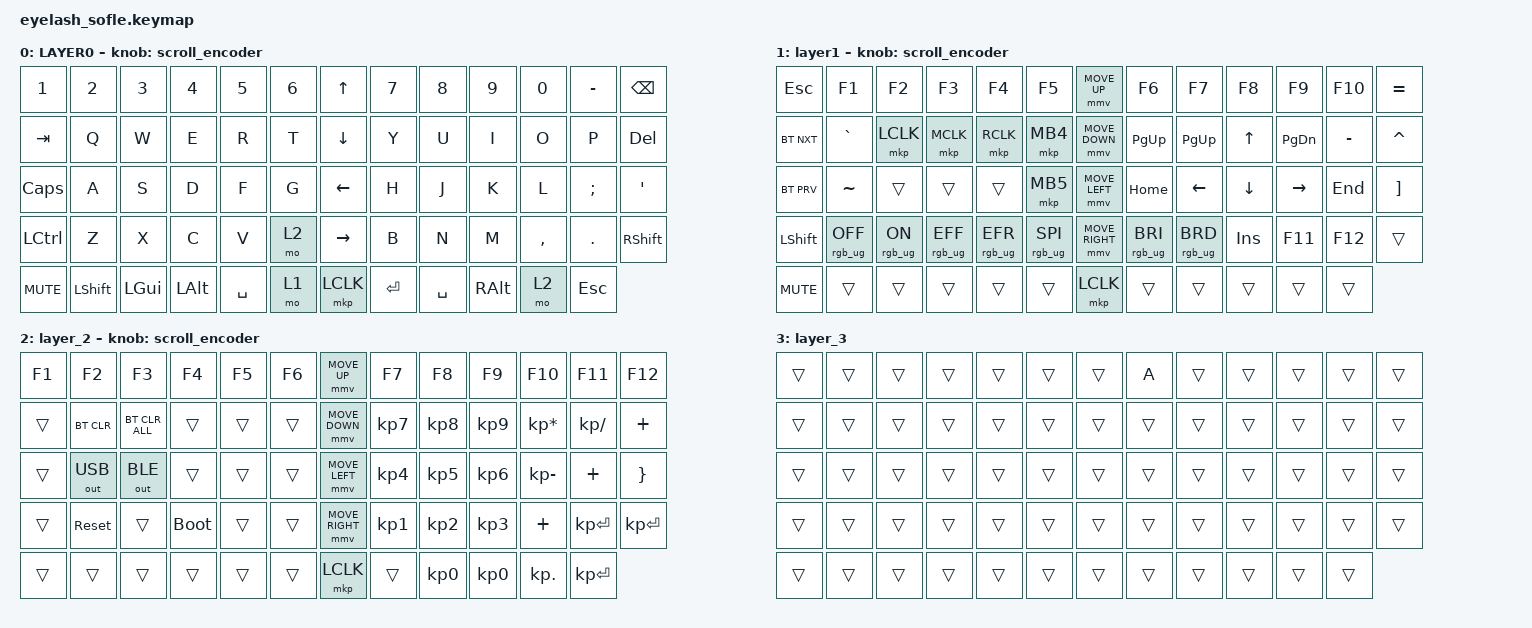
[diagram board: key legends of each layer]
#define ZMK_POINTING_DEFAULT_MOVE_VAL 1200  // 600
#define ZMK_POINTING_DEFAULT_SCRL_VAL 25   // 10

#include <input/processors.dtsi>
#include <zephyr/dt-bindings/input/input-event-codes.h>
#include <behaviors.dtsi>
#include <dt-bindings/zmk/bt.h>
#include <dt-bindings/zmk/keys.h>
#include <dt-bindings/zmk/outputs.h>
#include <dt-bindings/zmk/pointing.h>
#include <dt-bindings/zmk/rgb.h>

&mmv_input_listener { input-processors = <&zip_xy_scaler 2 1>; };

&msc_input_listener { input-processors = <&zip_scroll_scaler 2 1>; };

&msc {
    acceleration-exponent = <1>;      // 0
    time-to-max-speed-ms = <100>;       // 300
    delay-ms = <0>;                   // 0
};

&mmv {
    time-to-max-speed-ms = <500>;
    acceleration-exponent = <1>;
    trigger-period-ms = <16>;
};

/ {
    scroll_encoder: scroll_encoder {
        compatible = "zmk,behavior-sensor-rotate";
        #sensor-binding-cells = <0>;
        bindings = <&msc SCRL_DOWN>, <&msc SCRL_UP>;

        tap-ms = <100>;
    };

    behaviors {
    };

    keymap {
        compatible = "zmk,keymap";

        layer0 {
            bindings = <
&kp NUMBER_1  &kp NUMBER_2    &kp NUMBER_3  &kp NUMBER_4  &kp NUMBER_5  &kp NUMBER_6    &kp UP_ARROW    &kp NUMBER_7  &kp NUMBER_8  &kp NUMBER_9   &kp N0     &kp MINUS   &kp BACKSPACE
&kp TAB       &kp Q           &kp W         &kp E         &kp R         &kp T           &kp DOWN        &kp Y         &kp U         &kp I          &kp O      &kp P       &kp DEL
&kp CAPS      &kp A           &kp S         &kp D         &kp F         &kp G           &kp LEFT_ARROW  &kp H         &kp J         &kp K          &kp L      &kp SEMI    &kp APOS
&kp LCTRL     &kp Z           &kp X         &kp C         &kp V         &mo 2           &kp RIGHT       &kp B         &kp N         &kp M          &kp COMMA  &kp PERIOD  &kp RIGHT_SHIFT
&kp C_MUTE    &kp LEFT_SHIFT  &kp LEFT_GUI  &kp LEFT_ALT  &kp SPACE     &mo 1           &mkp LCLK       &kp ENTER     &kp SPACE     &kp RIGHT_ALT  &mo 2      &kp ESCAPE
            >;

            sensor-bindings = <&scroll_encoder>;
            display-name = "LAYER0";
        };

        layer_1 {
            bindings = <
&kp ESCAPE      &kp F1           &kp F2          &kp F3           &kp F4           &kp F5             &mmv MOVE_UP     &kp F6           &kp F7           &kp F8      &kp F9         &kp F10    &kp EQUAL
&bt BT_NXT      &kp GRAVE        &mkp LCLK       &mkp MCLK        &mkp RCLK        &mkp MB4           &mmv MOVE_DOWN   &kp PG_UP        &kp PG_UP        &kp UP      &kp PAGE_DOWN  &kp MINUS  &kp CARET
&bt BT_PRV      &kp TILDE        &trans          &trans           &trans           &mkp MB5           &mmv MOVE_LEFT   &kp HOME         &kp LEFT         &kp DOWN    &kp RIGHT      &kp END    &kp RIGHT_BRACKET
&kp LEFT_SHIFT  &rgb_ug RGB_OFF  &rgb_ug RGB_ON  &rgb_ug RGB_EFF  &rgb_ug RGB_EFR  &rgb_ug RGB_SPI    &mmv MOVE_RIGHT  &rgb_ug RGB_BRI  &rgb_ug RGB_BRD  &kp INSERT  &kp F11        &kp F12    &trans
&kp C_MUTE      &trans           &trans          &trans           &trans           &trans             &mkp LCLK        &trans           &trans           &trans      &trans         &trans
            >;

            display-name = "layer1";
            sensor-bindings = <&scroll_encoder>;
        };

        layer_2 {
            bindings = <
&kp F1  &kp F2        &kp F3          &kp F4       &kp F5  &kp F6    &mmv MOVE_UP     &kp F7           &kp F8           &kp F9           &kp F10          &kp F11        &kp F12
&trans  &bt BT_CLR    &bt BT_CLR_ALL  &trans       &trans  &trans    &mmv MOVE_DOWN   &kp KP_NUMBER_7  &kp KP_NUMBER_8  &kp KP_NUMBER_9  &kp KP_MULTIPLY  &kp KP_DIVIDE  &kp PLUS
&trans  &out OUT_USB  &out OUT_BLE    &trans       &trans  &trans    &mmv MOVE_LEFT   &kp KP_NUMBER_4  &kp KP_NUMBER_5  &kp KP_NUMBER_6  &kp KP_MINUS     &kp PLUS       &kp RBRC
&trans  &sys_reset    &trans          &bootloader  &trans  &trans    &mmv MOVE_RIGHT  &kp KP_NUMBER_1  &kp KP_NUMBER_2  &kp KP_NUMBER_3  &kp PLUS         &kp KP_ENTER   &kp KP_ENTER
&trans  &trans        &trans          &trans       &trans  &trans    &mkp LCLK        &trans           &kp KP_NUMBER_0  &kp KP_NUMBER_0  &kp KP_DOT       &kp KP_ENTER
            >;

            sensor-bindings = <&scroll_encoder>;
        };

        layer_3 {
            bindings = <
&trans  &trans  &trans  &trans  &trans  &trans    &trans  &kp A   &trans  &trans  &trans  &trans  &trans
&trans  &trans  &trans  &trans  &trans  &trans    &trans  &trans  &trans  &trans  &trans  &trans  &trans
&trans  &trans  &trans  &trans  &trans  &trans    &trans  &trans  &trans  &trans  &trans  &trans  &trans
&trans  &trans  &trans  &trans  &trans  &trans    &trans  &trans  &trans  &trans  &trans  &trans  &trans
&trans  &trans  &trans  &trans  &trans  &trans    &trans  &trans  &trans  &trans  &trans  &trans
            >;
        };
    };
};
